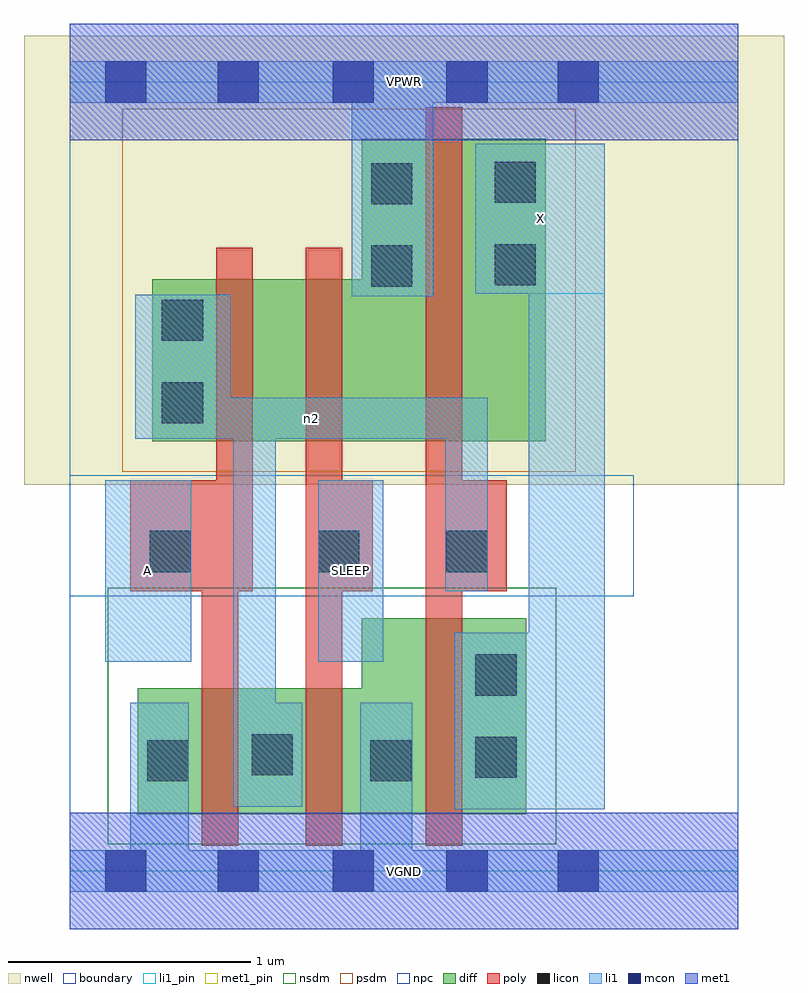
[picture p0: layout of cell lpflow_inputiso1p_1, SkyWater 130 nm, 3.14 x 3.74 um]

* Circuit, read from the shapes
.subckt lpflow_inputiso1p_1 A SLEEP VGND VPWR X n2
XM1 n2 A VGND VSUBS sky130_fd_pr__nfet_01v8 w=0.52 l=0.15
XM2 VGND SLEEP n2 VSUBS sky130_fd_pr__nfet_01v8 w=0.52 l=0.15
XM3 X n2 VGND VSUBS sky130_fd_pr__nfet_01v8 w=0.81 l=0.15
XM4 n1 A n2 n3 sky130_fd_pr__pfet_01v8 w=0.67 l=0.15
XM5 VPWR SLEEP n1 n3 sky130_fd_pr__pfet_01v8 w=0.67 l=0.15
XM6 X n2 VPWR n3 sky130_fd_pr__pfet_01v8 w=1.25 l=0.15
.ends

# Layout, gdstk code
import gdstk
lib = gdstk.Library(unit=1e-6, precision=1e-09)
def R(c, l, rs):  # rectangles x0, y0, x1, y1
    for r in rs: c.add(gdstk.rectangle(r[:2], r[2:], *l))
nwell = (64, 20)
diff = (65, 20)
poly = (66, 20)
licon = (66, 44)
li1_pin = (67, 16)
li1 = (67, 20)
mcon = (67, 44)
met1_pin = (68, 16)
met1 = (68, 20)
nsdm = (93, 44)
psdm = (94, 20)
npc = (95, 20)
boundary = (235, 4)

lpflow_inputiso1p_1 = lib.new_cell('lpflow_inputiso1p_1')
R(lpflow_inputiso1p_1, nwell, [(-0.19,1.595,2.95,3.45), (0,1.595,2.76,3.45)])
R(lpflow_inputiso1p_1, diff, [(0.28,0.235,1.885,0.755), (1.205,0.235,1.885,1.045), (0.34,1.775,1.965,2.445), (1.205,1.775,1.965,3.025)])
R(lpflow_inputiso1p_1, poly, [(0.545,0.105,0.695,1.615), (0.975,0.105,1.125,2.575), (1.47,0.105,1.62,3.155), (0.25,1.155,0.755,1.615), (0.605,1.155,0.755,2.575), (0.975,1.155,1.25,1.615), (1.47,1.155,1.805,1.615)])
R(lpflow_inputiso1p_1, licon, [(0.32,0.37,0.49,0.54), (1.24,0.37,1.41,0.54), (1.675,0.385,1.845,0.555), (0.75,0.395,0.92,0.565), (1.675,0.725,1.845,0.895), (0.33,1.235,0.5,1.405), (1.025,1.235,1.195,1.405), (1.555,1.235,1.725,1.405), (0.38,1.85,0.55,2.02), (0.38,2.19,0.55,2.36), (1.245,2.415,1.415,2.585), (1.755,2.42,1.925,2.59), (1.245,2.755,1.415,2.925), (1.755,2.76,1.925,2.93)])
R(lpflow_inputiso1p_1, li1_pin, [(0.145,0.865,0.5,1.615), (1.025,0.865,1.295,1.615), (1.675,2.385,2.21,3.005)])
R(lpflow_inputiso1p_1, li1, [(0,-0.085,2.76,0.085), (0.25,-0.085,0.49,0.695), (1.2,-0.085,1.415,0.695), (1.59,0.255,2.21,0.985), (1.895,0.255,2.21,3.005), (0.675,0.265,0.85,1.955), (0.675,0.265,0.96,0.695), (0.145,0.865,0.5,1.615), (1.025,0.865,1.295,1.615), (1.55,1.155,1.725,1.955), (0.27,1.785,1.725,1.955), (0.27,1.785,0.665,2.38), (1.165,2.375,1.5,3.345), (1.675,2.385,2.21,3.005), (0,3.175,2.76,3.345)])
R(lpflow_inputiso1p_1, mcon, [(0.145,-0.085,0.315,0.085), (0.61,-0.085,0.78,0.085), (1.085,-0.085,1.255,0.085), (1.555,-0.085,1.725,0.085), (2.015,-0.085,2.185,0.085), (0.145,3.175,0.315,3.345), (0.61,3.175,0.78,3.345), (1.085,3.175,1.255,3.345), (1.555,3.175,1.725,3.345), (2.015,3.175,2.185,3.345)])
R(lpflow_inputiso1p_1, met1_pin, [(0,-0.24,2.76,0.24), (0,3.02,2.76,3.5)])
R(lpflow_inputiso1p_1, met1, [(0,-0.24,2.76,0.24), (0,3.02,2.76,3.5)])
R(lpflow_inputiso1p_1, nsdm, [(0.155,0.11,2.01,1.17)])
R(lpflow_inputiso1p_1, psdm, [(0.215,1.65,2.09,3.15)])
R(lpflow_inputiso1p_1, npc, [(0,1.135,2.33,1.635)])
R(lpflow_inputiso1p_1, boundary, [(0,0,2.76,3.26)])
lpflow_inputiso1p_1.add(gdstk.Label('A', (0.322,1.24), layer=67, texttype=5))
lpflow_inputiso1p_1.add(gdstk.Label('SLEEP', (1.16,1.24), layer=67, texttype=5))
lpflow_inputiso1p_1.add(gdstk.Label('X', (1.942,2.695), layer=67, texttype=5))
lpflow_inputiso1p_1.add(gdstk.Label('n2', (0.997,1.87), layer=67, texttype=5))
lpflow_inputiso1p_1.add(gdstk.Label('VPWR', (1.38,3.26), layer=68, texttype=5))
lpflow_inputiso1p_1.add(gdstk.Label('VGND', (1.38,0), layer=68, texttype=5))
lpflow_inputiso1p_1.add(gdstk.Label('A', (0.322,1.24), layer=67, texttype=16))
lpflow_inputiso1p_1.add(gdstk.Label('SLEEP', (1.16,1.24), layer=67, texttype=16))
lpflow_inputiso1p_1.add(gdstk.Label('X', (1.942,2.695), layer=67, texttype=16))
lpflow_inputiso1p_1.add(gdstk.Label('VPWR', (1.38,3.26), layer=68, texttype=16))
lpflow_inputiso1p_1.add(gdstk.Label('VGND', (1.38,0), layer=68, texttype=16))

lib.write_gds('lpflow_inputiso1p_1.gds')
